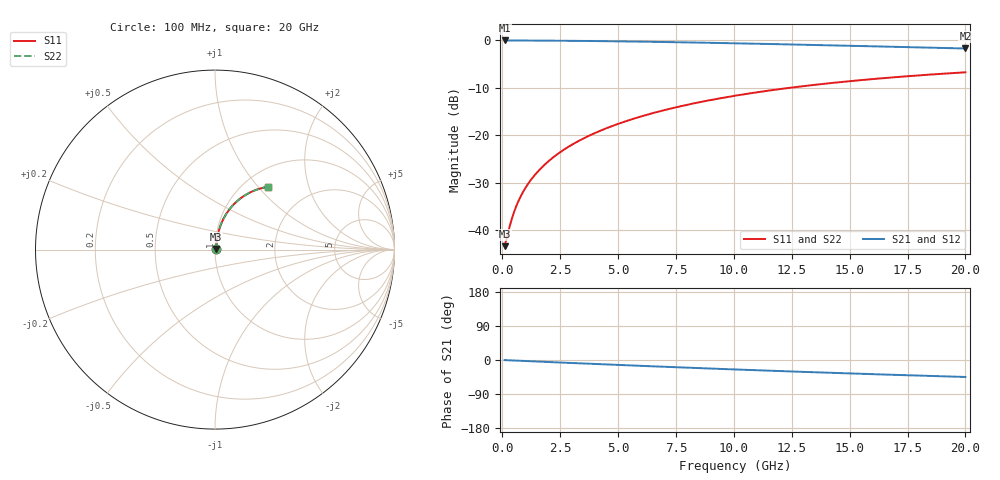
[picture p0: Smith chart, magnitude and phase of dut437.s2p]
! Touchstone file exported from HFSS 2024.1.0
!  File:  C:/UserFiles/LocalFiles/RDL_TSV_Batchsim/temp_RDL_bottom_437_1779684426.aedt
!  Generated:  12:50:08 PM May 25, 2026
!  Design:  RDL_bottom
!  Project:  temp_RDL_bottom_437_1779684426
!  Setup:  Setup1
!  Solution:  Sweep
! Variables:
!  dtsv = 10.80580581um
!  hbump = 3um
!  htsv = 57.99um
!  ldown = 604.03um
!  lrdl = 100um
!  p = 40
!  p1 = 46.02um
!  rhole = 1um
!  t = 450um
!  tdown = 2.25um
!  trdl = 3.915915916um
!  wdown = 15.87um
!  wrdl = 20um
# GHz S MA R 50.000000
! Terminal data exported
! Port[1] = RDL1_T1
! Port[2] = RDL1_T2
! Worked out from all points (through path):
!   200 points, 100 MHz to 20 GHz, reference 50 ohm
!   highest |S21| = -0.05 dB at 100 MHz (marker M1); lowest = -1.7 dB at 20 GHz (marker M2)
!   group delay of S21, straight-line fit = 6.22 ps
!   lowest |S11| = -43.4 dB at 100 MHz (marker M3), VSWR 1.01, Z = 50.6 + j0.283 ohm
!   |S11| at or under -10 dB: start of sweep to 12.46 GHz
!   |S22| runs from -43.4 to -6.8 dB; largest |S21 - S12| = 3.3e-15
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0.1  0.00677 24.4  0.9938 -0.3  0.9938 -0.3  0.00677 24.4
! Gamma 0 0 0 0
! Port Impedance 50 0 50 0
0.3  0.0105 52.3  0.9936 -0.8  0.9936 -0.8  0.0105 52.3
0.4  0.01284 59.1  0.9934 -1.1  0.9934 -1.1  0.01284 59.1
0.5  0.01529 63.5  0.9932 -1.4  0.9932 -1.4  0.01529 63.5
0.6  0.01777 66.7  0.993 -1.6  0.993 -1.6  0.01777 66.7
0.7  0.02027 69.0  0.9927 -1.9  0.9927 -1.9  0.02027 69.0
0.9  0.0253 72.2  0.9922 -2.4  0.9922 -2.4  0.0253 72.2
1.2  0.03287 75.0  0.9915 -3.2  0.9915 -3.2  0.03287 75.0
1.4  0.03794 76.3  0.991 -3.7  0.991 -3.7  0.03794 76.3
1.7  0.04558 77.5  0.9901 -4.5  0.9901 -4.5  0.04558 77.5
2.2  0.0584 78.6  0.9884 -5.8  0.9884 -5.8  0.0584 78.6
2.8  0.07392 79.0  0.986 -7.4  0.986 -7.4  0.07392 79.0
3.5  0.09213 78.9  0.9825 -9.2  0.9825 -9.2  0.09213 78.9
4.2  0.1104 78.4  0.9785 -11.0  0.9785 -11.0  0.1104 78.4
5  0.1314 77.4  0.9732 -13.0  0.9732 -13.0  0.1314 77.4
5.9  0.1549 76.1  0.9665 -15.2  0.9665 -15.2  0.1549 76.1
6.8  0.1783 74.6  0.959 -17.4  0.959 -17.4  0.1783 74.6
8.4  0.2192 71.7  0.9444 -21.2  0.9444 -21.2  0.2193 71.7
10.1  0.2613 68.4  0.9273 -25.1  0.9273 -25.1  0.2613 68.4
13.4  0.3368 61.9  0.8916 -32.2  0.8916 -32.2  0.3369 61.9
16.7  0.4029 55.6  0.8544 -38.7  0.8544 -38.7  0.403 55.6
20  0.4592 49.7  0.8179 -44.8  0.8179 -44.8  0.4592 49.7
